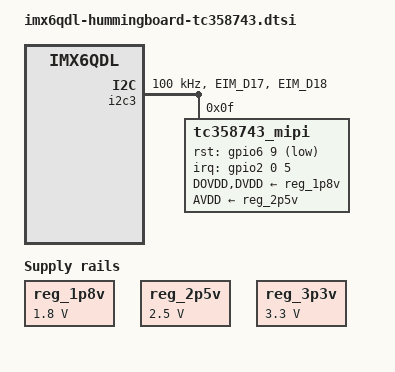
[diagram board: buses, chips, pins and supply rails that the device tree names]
/ {
	regulators {
		compatible = "simple-bus";

                reg_1p8v: 1p8v {
                        compatible = "regulator-fixed";
                        regulator-name = "1P8V";
                        regulator-min-microvolt = <1800000>;
                        regulator-max-microvolt = <1800000>;
                        regulator-always-on;
                };

                reg_2p5v: 2p5v {
                        compatible = "regulator-fixed";
                        regulator-name = "2P5V";
                        regulator-min-microvolt = <2500000>;
                        regulator-max-microvolt = <2500000>;
                        regulator-always-on;
                };

		reg_3p3v: 3p3v {
			compatible = "regulator-fixed";
			regulator-name = "3P3V";
			regulator-min-microvolt = <3300000>;
			regulator-max-microvolt = <3300000>;
			regulator-always-on;
		};
	};

        /* TC358743, must be ipu=0, csi=0. It does not support virtual channels */
        v4l2_cap_0: v4l2_cap_0 {
                compatible = "fsl,imx6q-v4l2-capture";
                ipu_id = <0>;
                csi_id = <0>;
                mipi_camera = <1>;
                mclk_source = <0>;
                status = "okay";
        };

};

&i2c3 {
	clock-frequency = <100000>;
	pinctrl-names = "default";
	pinctrl-0 = <&pinctrl_hummingboard_i2c3>;
	status = "okay";

        tc358743_mipi: tc358743_mipi@0f {
                compatible = "tc358743_mipi";
                reg = <0x0f>;
                clocks = <&clks 147>;
                clock-names = "csi_mclk";
                DOVDD-supply = <&reg_1p8v>;
                AVDD-supply = <&reg_2p5v>;
                DVDD-supply = <&reg_1p8v>;
                rst-gpios = <&gpio6 9 1>;
                interrupt-parent = <&gpio2>;
                interrupts = <0 5 0>;
                ipu_id = <0>;
                csi_id = <0>;
                mclk = <22000000>;
                mclk_source = <0>;
                /*pwms = <&pwm3 0 45>;*/
        };
};

&iomuxc {
	hummingboard {
		pinctrl_hummingboard_i2c3: hummingboard-i2c3 {
                        fsl,pins = <
                                MX6QDL_PAD_EIM_D17__I2C3_SCL 0x4001b8b1
                                MX6QDL_PAD_EIM_D18__I2C3_SDA 0x4001b8b1
                        >;
                };
	};
};

/*&pwm3 {
        pinctrl-names = "default";
        pinctrl-0 = <&pinctrl_pwm3_1>;
        status = "okay";
};*/
